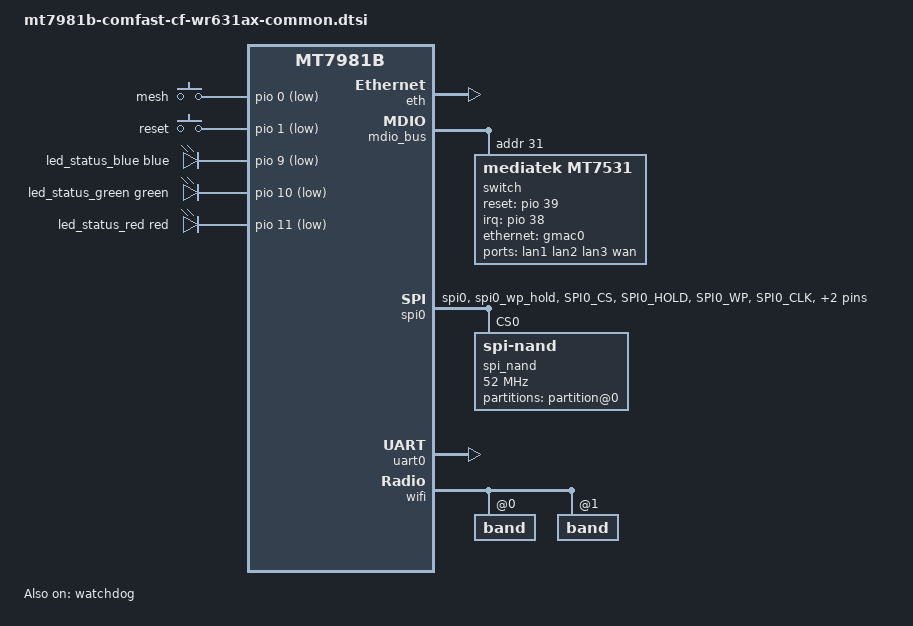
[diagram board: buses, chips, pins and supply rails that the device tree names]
// SPDX-License-Identifier: GPL-2.0-or-later OR MIT

/dts-v1/;

#include "mt7981b.dtsi"

/ {
	aliases {
		label-mac-device = &gmac0;
		led-boot = &led_status_red;
		led-failsafe = &led_status_red;
		led-running = &led_status_blue;
		led-upgrade = &led_status_green;
		serial0 = &uart0;
	};

	chosen: chosen {
		stdout-path = "serial0:115200n8";
	};

	gpio-keys {
		compatible = "gpio-keys";

		button-mesh {
			label = "mesh";
			linux,code = <BTN_9>;
			linux,input-type = <EV_SW>;
			gpios = <&pio 0 GPIO_ACTIVE_LOW>;
		};

		button-reset {
			label = "reset";
			linux,code = <KEY_RESTART>;
			gpios = <&pio 1 GPIO_ACTIVE_LOW>;
		};
	};

	leds {
		compatible = "gpio-leds";

		led_status_blue: led-0 {
			color = <LED_COLOR_ID_BLUE>;
			function = LED_FUNCTION_STATUS;
			gpios = <&pio 9 GPIO_ACTIVE_LOW>;
		};

		led_status_green: led-1 {
			color = <LED_COLOR_ID_GREEN>;
			function = LED_FUNCTION_STATUS;
			gpios = <&pio 10 GPIO_ACTIVE_LOW>;
		};

		led_status_red: led-2 {
			color = <LED_COLOR_ID_RED>;
			function = LED_FUNCTION_STATUS;
			gpios = <&pio 11 GPIO_ACTIVE_LOW>;
		};
	};
};

&eth {
	status = "okay";

	gmac0: mac@0 {
		compatible = "mediatek,eth-mac";
		reg = <0>;
		phy-mode = "2500base-x";

		nvmem-cell-names = "mac-address";
		nvmem-cells = <&macaddr_factory_e000 0>;

		fixed-link {
			speed = <2500>;
			full-duplex;
			pause;
		};
	};
};

&mdio_bus {
	switch: switch@1f {
		compatible = "mediatek,mt7531";
		reg = <31>;
		reset-gpios = <&pio 39 GPIO_ACTIVE_HIGH>;
		interrupt-controller;
		#interrupt-cells = <1>;
		interrupt-parent = <&pio>;
		interrupts = <38 IRQ_TYPE_LEVEL_HIGH>;
	};
};

&pio {
	spi0_flash_pins: spi0-pins {
		mux {
			function = "spi";
			groups = "spi0", "spi0_wp_hold";
		};

		conf-pu {
			pins = "SPI0_CS", "SPI0_HOLD", "SPI0_WP";
			drive-strength = <MTK_DRIVE_4mA>;
			bias-pull-up = <MTK_PUPD_SET_R1R0_11>;
		};

		conf-pd {
			pins = "SPI0_CLK", "SPI0_MOSI", "SPI0_MISO";
			drive-strength = <MTK_DRIVE_4mA>;
			bias-pull-down = <MTK_PUPD_SET_R1R0_11>;
		};
	};
};

&spi0 {
	pinctrl-names = "default";
	pinctrl-0 = <&spi0_flash_pins>;
	status = "okay";

	spi_nand: flash@0 {
		compatible = "spi-nand";
		reg = <0>;

		spi-max-frequency = <52000000>;
		spi-tx-bus-width = <4>;
		spi-rx-bus-width = <4>;

		partitions: partitions {
			compatible = "fixed-partitions";
			#address-cells = <1>;
			#size-cells = <1>;

			partition@0 {
				reg = <0x00000 0x100000>;
				read-only;
			};
		};
	};
};

&switch {
	ports {
		#address-cells = <1>;
		#size-cells = <0>;

		port@0 {
			label = "lan1";
			reg = <0>;
		};

		port@2 {
			label = "lan2";
			reg = <2>;
		};

		port@3 {
			label = "lan3";
			reg = <3>;
		};

		port@4 {
			label = "wan";
			reg = <4>;

			nvmem-cells = <&macaddr_factory_e000 1>;
			nvmem-cell-names = "mac-address";
		};

		port@6 {
			reg = <6>;
			ethernet = <&gmac0>;
			phy-mode = "2500base-x";

			fixed-link {
				speed = <2500>;
				full-duplex;
				pause;
			};
		};
	};
};

&uart0 {
	status = "okay";
};

&watchdog {
	status = "okay";
};

&wifi {
	nvmem-cells = <&eeprom_factory_0>;
	nvmem-cell-names = "eeprom";
	status = "okay";
	#address-cells = <1>;
	#size-cells = <0>;

	band@0 {
		reg = <0>;
		nvmem-cells = <&macaddr_factory_4 0>;
		nvmem-cell-names = "mac-address";
	};

	band@1 {
		reg = <1>;
		nvmem-cells = <&macaddr_factory_8000 0>;
		nvmem-cell-names = "mac-address";
	};
};
